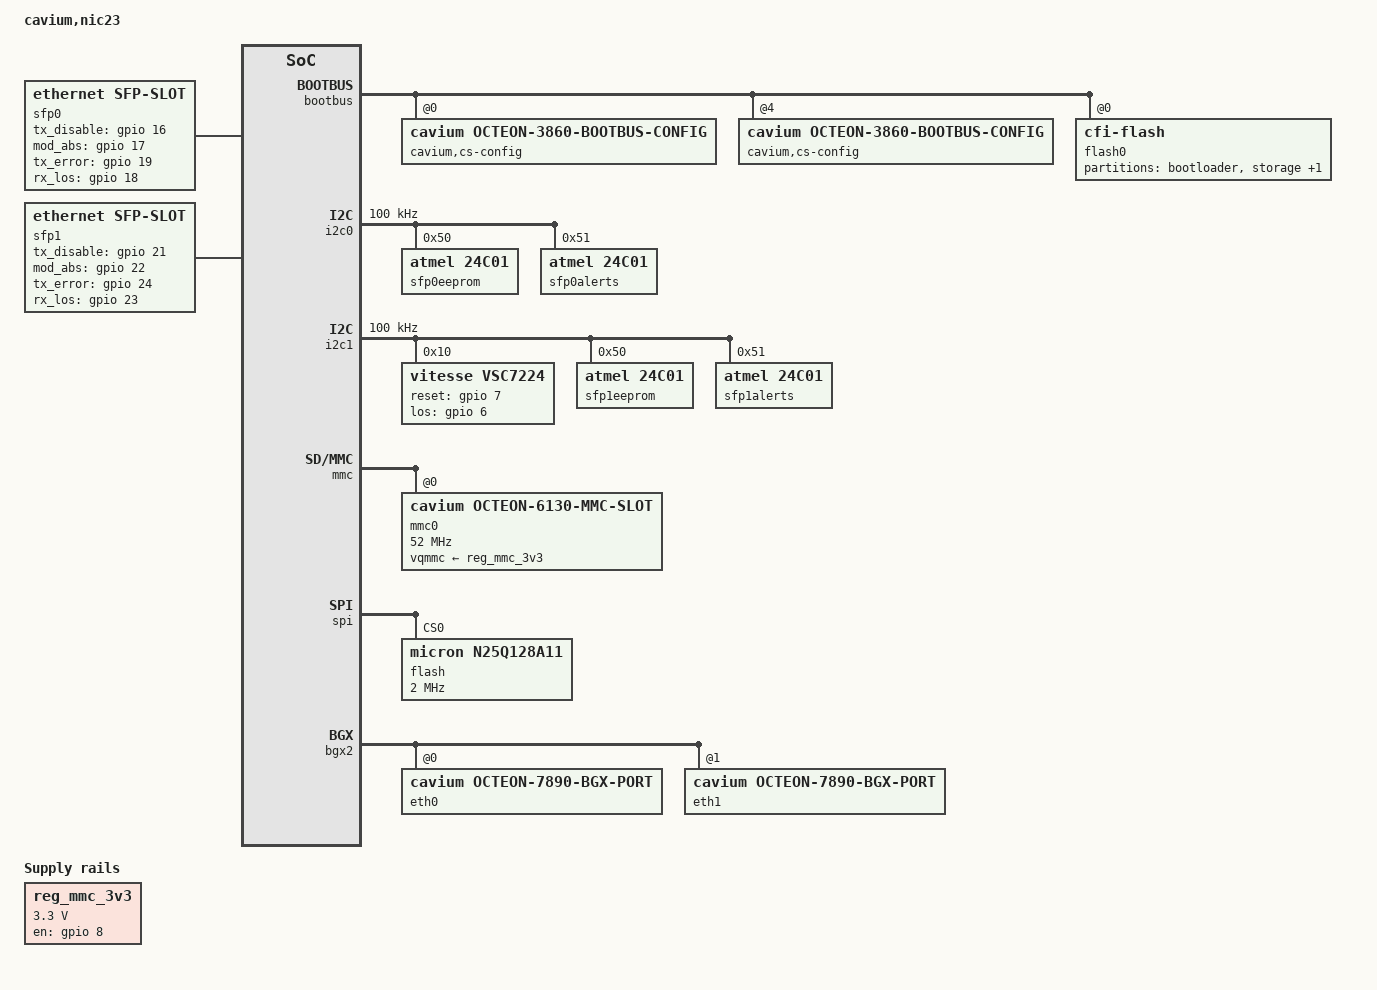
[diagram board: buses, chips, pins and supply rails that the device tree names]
// SPDX-License-Identifier: GPL-2.0+
/*
 * Marvell / Cavium Inc. NIC23
 */

/dts-v1/;

#include "mrvl,cn73xx.dtsi"
#include <dt-bindings/gpio/gpio.h>

/ {
	model = "cavium,nic23";
	compatible = "cavium,nic23";

	aliases {
		mmc0 = &mmc0;
		serial0 = &uart0;
		spi0 = &spi;
	};

	regulators {
		compatible = "simple-bus";
		#address-cells = <1>;
		#size-cells = <0>;

		/* Power on GPIO 8, active high */
		reg_mmc_3v3: regulator@0 {
			compatible = "regulator-fixed";
			reg = <0>;
			regulator-name = "mmc-3v3";
			regulator-min-microvolt = <3300000>;
			regulator-max-microvolt = <3300000>;
			gpio = <&gpio 8 GPIO_ACTIVE_HIGH>;
			enable-active-high;
		};
	};

	chosen {
		stdout-path = &uart0;
	};
};

&bootbus {
	/*
	 * bootbus CS0 for CFI flash is remapped (0x1fc0.0000 -> 1f40.0000)
	 * as the initial size is too small for the 8MiB flash device
	 */
	ranges = <0 0  0       0x1f400000  0xc00000>,
		 <1 0  0x10000 0x10000000  0>,
		 <2 0  0x10000 0x20000000  0>,
		 <3 0  0x10000 0x30000000  0>,
		 <4 0  0       0x1d020000  0x10000>,
		 <5 0  0x10000 0x50000000  0>,
		 <6 0  0x10000 0x60000000  0>,
		 <7 0  0x10000 0x70000000  0>;

	cavium,cs-config@0 {
		compatible = "cavium,octeon-3860-bootbus-config";
		cavium,cs-index = <0>;
		cavium,t-adr  = <10>;
		cavium,t-ce   = <50>;
		cavium,t-oe   = <50>;
		cavium,t-we   = <35>;
		cavium,t-rd-hld = <25>;
		cavium,t-wr-hld = <35>;
		cavium,t-pause  = <0>;
		cavium,t-wait   = <50>;
		cavium,t-page   = <30>;
		cavium,t-rd-dly = <0>;
		cavium,page-mode = <1>;
		cavium,pages     = <8>;
		cavium,bus-width = <8>;
	};

	cavium,cs-config@4 {
		compatible = "cavium,octeon-3860-bootbus-config";
		cavium,cs-index = <4>;
		cavium,t-adr  = <10>;
		cavium,t-ce   = <10>;
		cavium,t-oe   = <160>;
		cavium,t-we   = <100>;
		cavium,t-rd-hld = <10>;
		cavium,t-wr-hld = <0>;
		cavium,t-pause  = <50>;
		cavium,t-wait   = <50>;
		cavium,t-page   = <10>;
		cavium,t-rd-dly = <10>;
		cavium,pages     = <0>;
		cavium,bus-width = <8>;
	};

	flash0: nor@0,0 {
		compatible = "cfi-flash";
		reg = <0 0 0x800000>;
		#address-cells = <1>;
		#size-cells = <1>;
		partition@0 {
			label = "bootloader";
			reg = <0 0x340000>;
			read-only;
		};
		partition@300000 {
			label = "storage";
			reg = <0x340000 0x4be000>;
		};
		partition@7fe000 {
			label = "environment";
			reg = <0x7fe000 0x2000>;
			read-only;
		};
	};
};

&uart0 {
	clock-frequency = <800000000>;
};

&i2c0 {
	bootph-all;	/* Needed early for DDR SPD EEPROM */
	clock-frequency = <100000>;

	sfp0eeprom: eeprom@50 {
		compatible = "atmel,24c01";
		reg = <0x50>;
	};

	sfp0alerts: eeprom@51 {
		compatible = "atmel,24c01";
		reg = <0x51>;
	};
};

&i2c1 {
	bootph-all;	/* Needed early for DDR SPD EEPROM */
	clock-frequency = <100000>;

	vitesse@10 {
		compatible = "vitesse,vsc7224";
		reg = <0x10>;
		#address-cells = <1>;
		#size-cells = <0>;

		/* Note that reset is active high with this device */
		reset = <&gpio 7 0>;

		/* LoS pin can be pulled low when there is a loss of signal */
		los = <&gpio 6 0>;

		vitesse,reg-init =
			/* Clear all masks */
			/* Page select FSYNC0 (0x30) */
			<0x7f 0x0030>,
			/* Set FSYNC0 for 10.3125Gbps */
			<0x80 0x2841>,	/* See Table 3. */
			<0x81 0x0008>,
			<0x82 0xc000>,
			<0x83 0x0010>,
			<0x84 0x1d00>,

			/* All channels Rx settings set equally */
			<0x7f 0x0050>,
			/* Shrink EQ_BUFF */
			<0x82 0x0014>,
			/* Set EQVGA_ADAP = 1 (enable EQVGA circuitry),
			 * USE_UNIT_GAIN = 1 (EQVGA is in unity gain),
			 * USE_LPF = 0 (VGA adapt not using LPF),
			 * USE_EQVGA = 1
			<0x89 0x7f13>,
			/* Select min DFE Delay (DFE_DELAY) */
			<0x90 0x5785>,
			/* Set DFE 1-3 limit (DXMAX) = 32dec,
			 * AP Max limit = 127 decimal
			 */
			<0x92 0x207f>,
			/* Set AP Min limit = 32 decimal */
			<0x93 0x2000>,
			/* Set DFE Averaging to the slowest (DFE_AVG) */
			<0x94 0x0031>,
			/* Set Inductor Bypass OD_IND_BYP = 0 & fastest Rise/Fall */
			<0x9c 0x0000>,
			/* Setting DFE Boost = none. Must set for
			 * rev C (if DFE in adapt mode)
			 */
			<0xaa 0x0888>,
			/* Setting EQ Min = 8 & Max limit = 72 dec.
			 * Must set for rev C, otherwise EQ is 0
			 * (if EQ is in adaptive mode)
			 */
			<0xa8 0x2408>,
			/* Setting EQVGA = 96, when in EQVGA manual mode */
			<0xa9 0x0060>,
			/* Setting SW_BFOCM, bits 15:14 to 01 */
			<0x87 0x4021>,
			/* Turn off adaptive input equalization
			 * and VGA adaptive algorithm control.
			*/
			<0x89 0x7313>,
			/* Turn on adaptive input equalization
			 * and VGA adaptive algorithm control.
			*/
			<0x89 0x7f13>;

		vitesse-channel@0 {
			compatible = "vitesse,vsc7224-channel";
			reg = <0>;
			direction-tx;
			sfp-mac = <&eth0>;

			/* TAP settings.  The format of this is as
			 * follows:
			 * - cable length in meters, 0 = active or
			 *   optical module
			 * - maintap value
			 * - pretap value
			 * - posttap value
			 *
			 * For the cable length, the value will apply
			 * for that cable length and greater until the
			 * next largest cable length specified.  These
			 * values must be ordered first by channel mask
			 * then by cable length.  These are typically
			 * set for the transmit channels, not the
			 * receive channels.
			 */
			taps = <0 0x0013 0x000f 0x0000>,
			       <1 0x001f 0x000f 0x0004>,
			       <3 0x0014 0x000b 0x0004>,
			       <5 0x0014 0x0009 0x0006>,
			       <7 0x0014 0x000f 0x0000>,
			       <10 0x0012 0x000b 0x0013>;
		};

		vitesse-channel@1 {
			compatible = "vitesse,vsc7224-channel";
			reg = <1>;
			/* Ignore mod_abs and module */
			direction-rx;
			sfp-mac = <&eth0>;

			/* Disable pre-tap */
			pretap-disable;

			/* Disable post-tap */
			posttap-disable;

			/* Taps has the following fields:
			 * - cable length (ignored for rx)
			 * - main tap value
			 * - pre tap value
			 * - post tap value
			 *
			 * NOTE: if taps are disabled then they
			 *       are not programmed.
			 */
			taps = <0 0x0a 0x0b 0x10>;
		};

		vitesse-channel@2 {
			compatible = "vitesse,vsc7224-channel";
			reg = <2>;
			direction-tx;
			sfp-mac = <&eth1>;

			/* TAP settings.  The format of this is as
			 * follows:
			 * - cable length in meters, 0 = active or
			 *   optical module
			 * - maintap value
			 * - pretap value
			 * - posttap value
			 *
			 * For the cable length, the value will apply
			 * for that cable length and greater until the
			 * next largest cable length specified.  These
			 * values must be ordered first by channel mask
			 * then by cable length.  These are typically
			 * set for the transmit channels, not the
			 * receive channels.
			 */
			taps = <0 0x0013 0x000f 0x0000>,
			       <1 0x001f 0x000f 0x0004>,
			       <3 0x0014 0x000b 0x0004>,
			       <5 0x0014 0x0009 0x0006>,
			       <7 0x0014 0x000f 0x0000>,
			       <10 0x0012 0x000b 0x0013>;
		};

		vitesse-channel@3 {
			compatible = "vitesse,vsc7224-channel";
			reg = <3>;
			/* Ignore mod_abs and module */
			direction-rx;
			sfp-mac = <&eth1>;

			/* Disable pre-tap */
			pretap-disable;

			/* Disable post-tap */
			posttap-disable;

			/* Taps has the following fields:
			 * - cable length (ignored for rx)
			 * - main tap value
			 * - pre tap value
			 * - post tap value
			 *
			 * NOTE: if taps are disabled then they
			 *       are not programmed.
			 */
			taps = <0 0x0a 0x0b 0x10>;
		};
	};

	sfp1eeprom: eeprom@50 {
		compatible = "atmel,24c01";
		reg = <0x50>;
	};

	sfp1alerts: eeprom@51 {
		compatible = "atmel,24c01";
		reg = <0x51>;
	};
};

&mmc {
	status = "okay";

	mmc0: mmc-slot@0 {
		compatible = "cavium,octeon-6130-mmc-slot", "mmc-slot";
		reg = <0>;
		vqmmc-supply = <&reg_mmc_3v3>;
		voltage-ranges = <3300 3300>;
		spi-max-frequency = <52000000>;
		/* bus width can be 1, 4 or 8 */
		bus-width = <8>; /* new std property */
		cavium,bus-max-width = <8>; /* custom property */
		non-removable;
	};
};

&soc0 {
	pci-console@0 {
		compatible = "marvell,pci-console";
		status = "okay";
	};

	pci-bootcmd@0 {
		compatible = "marvell,pci-bootcmd";
		status = "okay";
	};

	sfp0: sfp-slot@0 {
		compatible = "ethernet,sfp-slot";
		tx_disable = <&gpio 16 0>;
		mod_abs = <&gpio 17 0>;
		tx_error = <&gpio 19 0>;
		rx_los = <&gpio 18 0>;
		eeprom = <&sfp0eeprom>;
		diag = <&sfp0alerts>;
	};

	sfp1: sfp-slot@1 {
		compatible = "ethernet,sfp-slot";
		tx_disable = <&gpio 21 0>;
		mod_abs = <&gpio 22 0>;
		tx_error = <&gpio 24 0>;
		rx_los = <&gpio 23 0>;
		eeprom = <&sfp1eeprom>;
		diag = <&sfp1alerts>;
	};
};

&spi {
	flash@0 {
		compatible = "micron,n25q128a11", "jedec,spi-nor";
		spi-max-frequency = <2000000>;
		reg = <0>;
	};
};

/* BGX 2 */
&bgx2 {
	status = "okay";

	/* SerDes 0, may differ from PCS Lane/LMAC */
	eth0: ethernet-mac@0 {
		compatible = "cavium,octeon-7890-bgx-port";
		reg = <0>;
		local-mac-address = [ 00 00 00 00 00 00 ];
		sfp-slot = <&sfp0>;
	};

	/* SerDes 1, may differ from PCS Lane/LMAC */
	eth1: ethernet-mac@1 {
		compatible = "cavium,octeon-7890-bgx-port";
		reg = <1>;
		local-mac-address = [ 00 00 00 00 00 00 ];
		sfp-slot = <&sfp1>;
	};
};
